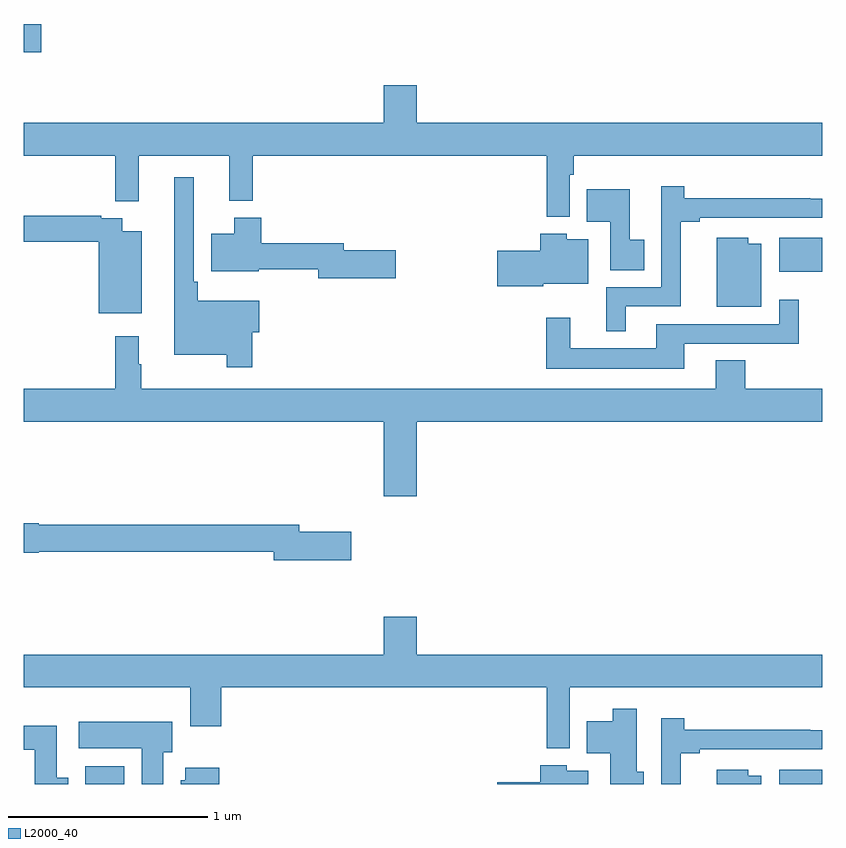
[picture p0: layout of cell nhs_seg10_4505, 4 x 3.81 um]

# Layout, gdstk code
import gdstk
lib = gdstk.Library(unit=1e-6, precision=1e-09)
def R(c, l, rs):  # rectangles x0, y0, x1, y1
    for r in rs: c.add(gdstk.rectangle(r[:2], r[2:], *l))
def P(c, l, *ps):  # polygons
    for p in ps: c.add(gdstk.Polygon(p, *l))
L2000_40 = (2000, 40)

nhs_seg10_4505 = lib.new_cell('nhs_seg10_4505')
R(nhs_seg10_4505, L2000_40, [(367.307,1298.5,367.504,1298.59), (370.784,1298.5,371,1298.572), (370.784,1301.066,371,1301.236), (367,1302.166,367.087,1302.308)])
P(nhs_seg10_4505, L2000_40, [(369.735,1301.552),(369.755,1301.552),(369.755,1301.648),(371,1301.648),(371,1301.812),(368.968,1301.812),(368.968,1302.001),(368.804,1302.001),(368.804,1301.812),(367,1301.812),(367,1301.648),(367.459,1301.648),(367.459,1301.419),(367.577,1301.419),(367.577,1301.648),(368.03,1301.648),(368.03,1301.423),(368.147,1301.423),(368.147,1301.648),(369.619,1301.648),(369.619,1301.342),(369.735,1301.342)],
  [(368.144,1300.763),(368.179,1300.763),(368.179,1300.921),(367.871,1300.921),(367.871,1301.017),(367.851,1301.017),(367.851,1301.539),(367.754,1301.539),(367.754,1300.652),(368.016,1300.652),(368.016,1300.587),(368.144,1300.587)],
  [(370.015,1300.893),(370.292,1300.893),(370.292,1301.317),(370.387,1301.317),(370.387,1301.337),(371,1301.337),(371,1301.433),(370.94,1301.433),(370.94,1301.435),(370.31,1301.435),(370.31,1301.494),(370.194,1301.494),(370.194,1300.989),(369.917,1300.989),(369.917,1300.769),(370.015,1300.769)],
  [(370.109,1301.226),(370.036,1301.226),(370.036,1301.479),(369.82,1301.479),(369.82,1301.318),(369.939,1301.318),(369.939,1301.074),(370.109,1301.074)],
  [(367.591,1301.269),(367.492,1301.269),(367.492,1301.334),(367.388,1301.334),(367.388,1301.347),(367,1301.347),(367,1301.218),(367.376,1301.218),(367.376,1300.859),(367.591,1300.859)],
  [(368.863,1301.175),(368.602,1301.175),(368.602,1301.209),(368.189,1301.209),(368.189,1301.338),(368.054,1301.338),(368.054,1301.257),(367.94,1301.257),(367.94,1301.069),(368.176,1301.069),(368.176,1301.08),(368.474,1301.08),(368.474,1301.033),(368.863,1301.033)],
  [(369.603,1301.006),(369.829,1301.006),(369.829,1301.23),(369.72,1301.23),(369.72,1301.257),(369.587,1301.257),(369.587,1301.172),(369.372,1301.172),(369.372,1300.994),(369.603,1300.994)],
  [(370.696,1301.206),(370.63,1301.206),(370.63,1301.236),(370.472,1301.236),(370.472,1300.892),(370.696,1300.892)],
  [(370.309,1300.707),(370.883,1300.707),(370.883,1300.927),(370.785,1300.927),(370.785,1300.803),(370.169,1300.803),(370.169,1300.684),(369.739,1300.684),(369.739,1300.837),(369.618,1300.837),(369.618,1300.58),(370.309,1300.58)],
  [(368.968,1300.316),(371,1300.316),(371,1300.48),(370.614,1300.48),(370.614,1300.622),(370.466,1300.622),(370.466,1300.48),(367.588,1300.48),(367.588,1300.604),(367.576,1300.604),(367.576,1300.744),(367.459,1300.744),(367.459,1300.48),(367,1300.48),(367,1300.316),(368.804,1300.316),(368.804,1299.942),(368.968,1299.942)],
  [(368.641,1299.764),(368.38,1299.764),(368.38,1299.8),(367.074,1299.8),(367.074,1299.806),(367,1299.806),(367,1299.659),(367.074,1299.659),(367.074,1299.664),(368.252,1299.664),(368.252,1299.622),(368.641,1299.622)],
  [(369.735,1298.984),(371,1298.984),(371,1299.148),(368.968,1299.148),(368.968,1299.337),(368.804,1299.337),(368.804,1299.148),(367,1299.148),(367,1298.984),(367.835,1298.984),(367.835,1298.79),(367.988,1298.79),(367.988,1298.984),(369.619,1298.984),(369.619,1298.678),(369.735,1298.678)],
  [(370.105,1298.562),(370.072,1298.562),(370.072,1298.878),(369.95,1298.878),(369.95,1298.815),(369.82,1298.815),(369.82,1298.654),(369.938,1298.654),(369.938,1298.5),(370.105,1298.5)],
  [(370.292,1298.653),(370.387,1298.653),(370.387,1298.673),(371,1298.673),(371,1298.769),(370.94,1298.769),(370.94,1298.771),(370.31,1298.771),(370.31,1298.83),(370.194,1298.83),(370.194,1298.5),(370.292,1298.5)],
  [(367.699,1298.658),(367.744,1298.658),(367.744,1298.812),(367.275,1298.812),(367.275,1298.678),(367.592,1298.678),(367.592,1298.5),(367.699,1298.5)],
  [(367.222,1298.532),(367.165,1298.532),(367.165,1298.791),(367,1298.791),(367,1298.672),(367.055,1298.672),(367.055,1298.5),(367.222,1298.5)],
  [(369.829,1298.566),(369.72,1298.566),(369.72,1298.593),(369.587,1298.593),(369.587,1298.508),(369.372,1298.508),(369.372,1298.5),(369.829,1298.5)],
  [(367.979,1298.581),(367.808,1298.581),(367.808,1298.52),(367.787,1298.52),(367.787,1298.5),(367.979,1298.5)],
  [(370.696,1298.542),(370.63,1298.542),(370.63,1298.572),(370.472,1298.572),(370.472,1298.5),(370.696,1298.5)])

lib.write_gds('nhs_seg10_4505.gds')
